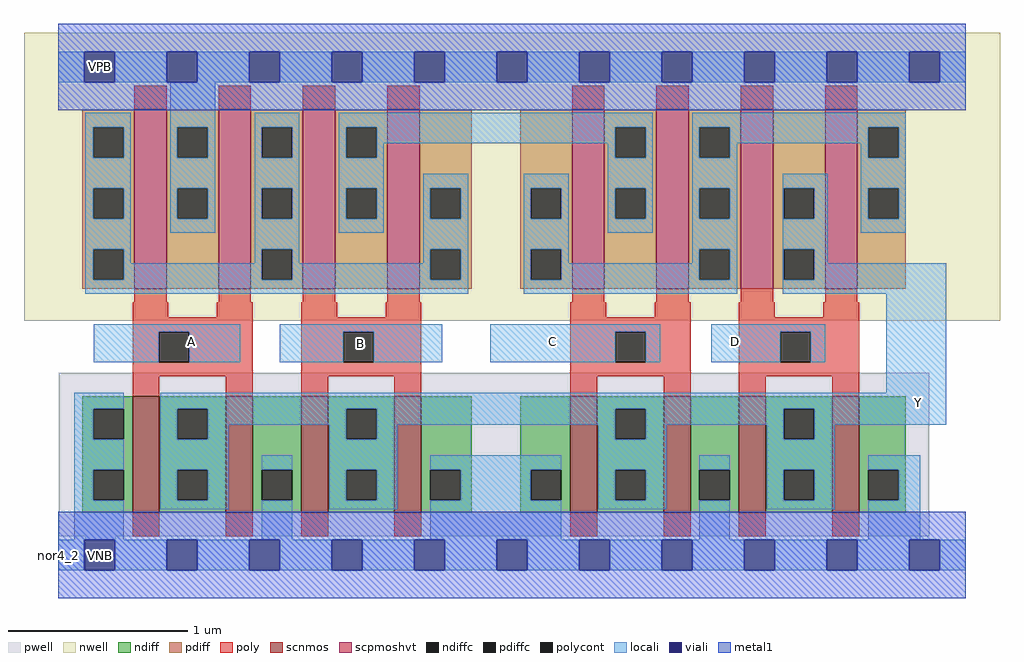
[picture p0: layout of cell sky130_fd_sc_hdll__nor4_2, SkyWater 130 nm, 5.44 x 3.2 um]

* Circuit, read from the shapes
.subckt sky130_fd_sc_hdll__nor4_2 A B C D VGND VNB VPB VPWR Y
XM1 Y A VGND VNB sky130_fd_pr__nfet_01v8 w=0.65 l=0.15 m=2
XM2 Y B VGND VNB sky130_fd_pr__nfet_01v8 w=0.65 l=0.15 m=2
XM3 Y C VGND VNB sky130_fd_pr__nfet_01v8 w=0.65 l=0.15 m=2
XM4 Y D VGND VNB sky130_fd_pr__nfet_01v8 w=0.65 l=0.15 m=2
XM5 VPWR A n1 VPB sky130_fd_pr__pfet_01v8_hvt w=1 l=0.18 m=2
XM6 n2 B n1 VPB sky130_fd_pr__pfet_01v8_hvt w=1 l=0.18 m=2
XM7 n2 C n3 VPB sky130_fd_pr__pfet_01v8_hvt w=1 l=0.18 m=2
XM8 Y D n3 VPB sky130_fd_pr__pfet_01v8_hvt w=1 l=0.18 m=2
.ends

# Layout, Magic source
magic
tech sky130A
magscale 1 2
<< nwell >>
rect -38 261 1050 582
<< pwell >>
rect 1 21 971 203
rect 30 -17 64 21
<< scnmos >>
rect 83 47 113 177
rect 187 47 217 177
rect 271 47 301 177
rect 375 47 405 177
rect 571 47 601 177
rect 675 47 705 177
rect 759 47 789 177
rect 863 47 893 177
<< scpmoshvt >>
rect 85 297 121 497
rect 179 297 215 497
rect 273 297 309 497
rect 367 297 403 497
rect 573 297 609 497
rect 667 297 703 497
rect 761 297 797 497
rect 855 297 891 497
<< ndiff >>
rect 27 163 83 177
rect 27 129 39 163
rect 73 129 83 163
rect 27 95 83 129
rect 27 61 39 95
rect 73 61 83 95
rect 27 47 83 61
rect 113 163 187 177
rect 113 129 133 163
rect 167 129 187 163
rect 113 95 187 129
rect 113 61 133 95
rect 167 61 187 95
rect 113 47 187 61
rect 217 95 271 177
rect 217 61 227 95
rect 261 61 271 95
rect 217 47 271 61
rect 301 163 375 177
rect 301 129 321 163
rect 355 129 375 163
rect 301 95 375 129
rect 301 61 321 95
rect 355 61 375 95
rect 301 47 375 61
rect 405 95 461 177
rect 405 61 415 95
rect 449 61 461 95
rect 405 47 461 61
rect 515 95 571 177
rect 515 61 527 95
rect 561 61 571 95
rect 515 47 571 61
rect 601 163 675 177
rect 601 129 621 163
rect 655 129 675 163
rect 601 95 675 129
rect 601 61 621 95
rect 655 61 675 95
rect 601 47 675 61
rect 705 95 759 177
rect 705 61 715 95
rect 749 61 759 95
rect 705 47 759 61
rect 789 163 863 177
rect 789 129 809 163
rect 843 129 863 163
rect 789 95 863 129
rect 789 61 809 95
rect 843 61 863 95
rect 789 47 863 61
rect 893 95 945 177
rect 893 61 903 95
rect 937 61 945 95
rect 893 47 945 61
<< pdiff >>
rect 27 477 85 497
rect 27 443 39 477
rect 73 443 85 477
rect 27 409 85 443
rect 27 375 39 409
rect 73 375 85 409
rect 27 341 85 375
rect 27 307 39 341
rect 73 307 85 341
rect 27 297 85 307
rect 121 477 179 497
rect 121 443 133 477
rect 167 443 179 477
rect 121 409 179 443
rect 121 375 133 409
rect 167 375 179 409
rect 121 297 179 375
rect 215 477 273 497
rect 215 443 227 477
rect 261 443 273 477
rect 215 409 273 443
rect 215 375 227 409
rect 261 375 273 409
rect 215 341 273 375
rect 215 307 227 341
rect 261 307 273 341
rect 215 297 273 307
rect 309 477 367 497
rect 309 443 321 477
rect 355 443 367 477
rect 309 409 367 443
rect 309 375 321 409
rect 355 375 367 409
rect 309 297 367 375
rect 403 409 461 497
rect 403 375 415 409
rect 449 375 461 409
rect 403 341 461 375
rect 403 307 415 341
rect 449 307 461 341
rect 403 297 461 307
rect 515 409 573 497
rect 515 375 527 409
rect 561 375 573 409
rect 515 341 573 375
rect 515 307 527 341
rect 561 307 573 341
rect 515 297 573 307
rect 609 477 667 497
rect 609 443 621 477
rect 655 443 667 477
rect 609 409 667 443
rect 609 375 621 409
rect 655 375 667 409
rect 609 297 667 375
rect 703 477 761 497
rect 703 443 715 477
rect 749 443 761 477
rect 703 409 761 443
rect 703 375 715 409
rect 749 375 761 409
rect 703 341 761 375
rect 703 307 715 341
rect 749 307 761 341
rect 703 297 761 307
rect 797 409 855 497
rect 797 375 809 409
rect 843 375 855 409
rect 797 341 855 375
rect 797 307 809 341
rect 843 307 855 341
rect 797 297 855 307
rect 891 477 945 497
rect 891 443 903 477
rect 937 443 945 477
rect 891 409 945 443
rect 891 375 903 409
rect 937 375 945 409
rect 891 297 945 375
<< ndiffc >>
rect 39 129 73 163
rect 39 61 73 95
rect 133 129 167 163
rect 133 61 167 95
rect 227 61 261 95
rect 321 129 355 163
rect 321 61 355 95
rect 415 61 449 95
rect 527 61 561 95
rect 621 129 655 163
rect 621 61 655 95
rect 715 61 749 95
rect 809 129 843 163
rect 809 61 843 95
rect 903 61 937 95
<< pdiffc >>
rect 39 443 73 477
rect 39 375 73 409
rect 39 307 73 341
rect 133 443 167 477
rect 133 375 167 409
rect 227 443 261 477
rect 227 375 261 409
rect 227 307 261 341
rect 321 443 355 477
rect 321 375 355 409
rect 415 375 449 409
rect 415 307 449 341
rect 527 375 561 409
rect 527 307 561 341
rect 621 443 655 477
rect 621 375 655 409
rect 715 443 749 477
rect 715 375 749 409
rect 715 307 749 341
rect 809 375 843 409
rect 809 307 843 341
rect 903 443 937 477
rect 903 375 937 409
<< poly >>
rect 85 497 121 523
rect 179 497 215 523
rect 273 497 309 523
rect 367 497 403 523
rect 573 497 609 523
rect 667 497 703 523
rect 761 497 797 523
rect 855 497 891 523
rect 85 282 121 297
rect 179 282 215 297
rect 273 282 309 297
rect 367 282 403 297
rect 573 282 609 297
rect 667 282 703 297
rect 761 282 797 297
rect 855 282 891 297
rect 83 265 123 282
rect 177 265 217 282
rect 83 249 217 265
rect 83 215 112 249
rect 146 215 217 249
rect 83 199 217 215
rect 83 177 113 199
rect 187 177 217 199
rect 271 265 311 282
rect 365 265 405 282
rect 271 249 405 265
rect 271 215 318 249
rect 352 215 405 249
rect 271 199 405 215
rect 271 177 301 199
rect 375 177 405 199
rect 571 265 611 282
rect 665 265 705 282
rect 571 249 705 265
rect 571 215 621 249
rect 655 215 705 249
rect 571 199 705 215
rect 571 177 601 199
rect 675 177 705 199
rect 759 265 799 282
rect 853 265 893 282
rect 759 249 893 265
rect 759 215 805 249
rect 839 215 893 249
rect 759 199 893 215
rect 759 177 789 199
rect 863 177 893 199
rect 83 21 113 47
rect 187 21 217 47
rect 271 21 301 47
rect 375 21 405 47
rect 571 21 601 47
rect 675 21 705 47
rect 759 21 789 47
rect 863 21 893 47
<< polycont >>
rect 112 215 146 249
rect 318 215 352 249
rect 621 215 655 249
rect 805 215 839 249
<< locali >>
rect 0 527 29 561
rect 63 527 121 561
rect 155 527 213 561
rect 247 527 305 561
rect 339 527 397 561
rect 431 527 489 561
rect 523 527 581 561
rect 615 527 673 561
rect 707 527 765 561
rect 799 527 857 561
rect 891 527 949 561
rect 983 527 1012 561
rect 30 477 81 493
rect 30 443 39 477
rect 73 443 81 477
rect 30 409 81 443
rect 30 375 39 409
rect 73 375 81 409
rect 30 341 81 375
rect 125 477 175 527
rect 125 443 133 477
rect 167 443 175 477
rect 125 409 175 443
rect 125 375 133 409
rect 167 375 175 409
rect 125 359 175 375
rect 219 477 269 493
rect 219 443 227 477
rect 261 443 269 477
rect 219 409 269 443
rect 219 375 227 409
rect 261 375 269 409
rect 30 307 39 341
rect 73 325 81 341
rect 219 341 269 375
rect 313 477 663 493
rect 313 443 321 477
rect 355 459 621 477
rect 355 443 363 459
rect 313 409 363 443
rect 613 443 621 459
rect 655 443 663 477
rect 313 375 321 409
rect 355 375 363 409
rect 313 359 363 375
rect 407 409 457 425
rect 407 375 415 409
rect 449 375 457 409
rect 219 325 227 341
rect 73 307 227 325
rect 261 325 269 341
rect 407 341 457 375
rect 407 325 415 341
rect 261 307 415 325
rect 449 307 457 341
rect 30 291 457 307
rect 519 409 569 425
rect 519 375 527 409
rect 561 375 569 409
rect 519 341 569 375
rect 613 409 663 443
rect 613 375 621 409
rect 655 375 663 409
rect 613 359 663 375
rect 707 477 945 493
rect 707 443 715 477
rect 749 459 903 477
rect 749 443 757 459
rect 707 409 757 443
rect 895 443 903 459
rect 937 443 945 477
rect 707 375 715 409
rect 749 375 757 409
rect 519 307 527 341
rect 561 325 569 341
rect 707 341 757 375
rect 707 325 715 341
rect 561 307 715 325
rect 749 307 757 341
rect 519 291 757 307
rect 808 409 858 425
rect 808 375 809 409
rect 843 375 858 409
rect 808 341 858 375
rect 895 409 945 443
rect 895 375 903 409
rect 937 375 945 409
rect 895 359 945 375
rect 808 307 809 341
rect 843 325 858 341
rect 843 307 990 325
rect 808 291 990 307
rect 40 249 203 257
rect 40 215 112 249
rect 146 215 203 249
rect 247 249 428 257
rect 247 215 318 249
rect 352 215 428 249
rect 482 249 671 257
rect 482 215 621 249
rect 655 215 671 249
rect 728 249 855 257
rect 728 215 805 249
rect 839 215 855 249
rect 923 181 990 291
rect 18 163 73 181
rect 18 129 39 163
rect 18 95 73 129
rect 18 61 39 95
rect 18 17 73 61
rect 114 163 990 181
rect 114 129 133 163
rect 167 145 321 163
rect 167 129 190 145
rect 114 95 190 129
rect 302 129 321 145
rect 355 145 621 163
rect 355 129 378 145
rect 114 61 133 95
rect 167 61 190 95
rect 114 51 190 61
rect 227 95 261 111
rect 227 17 261 61
rect 302 95 378 129
rect 602 129 621 145
rect 655 145 809 163
rect 655 129 678 145
rect 302 61 321 95
rect 355 61 378 95
rect 302 51 378 61
rect 415 95 561 111
rect 449 61 527 95
rect 415 17 561 61
rect 602 95 678 129
rect 790 129 809 145
rect 843 145 990 163
rect 843 129 866 145
rect 602 61 621 95
rect 655 61 678 95
rect 602 51 678 61
rect 715 95 749 111
rect 715 17 749 61
rect 790 95 866 129
rect 790 61 809 95
rect 843 61 866 95
rect 790 51 866 61
rect 903 95 961 111
rect 937 61 961 95
rect 903 17 961 61
rect 0 -17 29 17
rect 63 -17 121 17
rect 155 -17 213 17
rect 247 -17 305 17
rect 339 -17 397 17
rect 431 -17 489 17
rect 523 -17 581 17
rect 615 -17 673 17
rect 707 -17 765 17
rect 799 -17 857 17
rect 891 -17 949 17
rect 983 -17 1012 17
<< viali >>
rect 29 527 63 561
rect 121 527 155 561
rect 213 527 247 561
rect 305 527 339 561
rect 397 527 431 561
rect 489 527 523 561
rect 581 527 615 561
rect 673 527 707 561
rect 765 527 799 561
rect 857 527 891 561
rect 949 527 983 561
rect 29 -17 63 17
rect 121 -17 155 17
rect 213 -17 247 17
rect 305 -17 339 17
rect 397 -17 431 17
rect 489 -17 523 17
rect 581 -17 615 17
rect 673 -17 707 17
rect 765 -17 799 17
rect 857 -17 891 17
rect 949 -17 983 17
<< metal1 >>
rect 0 561 1012 592
rect 0 527 29 561
rect 63 527 121 561
rect 155 527 213 561
rect 247 527 305 561
rect 339 527 397 561
rect 431 527 489 561
rect 523 527 581 561
rect 615 527 673 561
rect 707 527 765 561
rect 799 527 857 561
rect 891 527 949 561
rect 983 527 1012 561
rect 0 496 1012 527
rect 0 17 1012 48
rect 0 -17 29 17
rect 63 -17 121 17
rect 155 -17 213 17
rect 247 -17 305 17
rect 339 -17 397 17
rect 431 -17 489 17
rect 523 -17 581 17
rect 615 -17 673 17
rect 707 -17 765 17
rect 799 -17 857 17
rect 891 -17 949 17
rect 983 -17 1012 17
rect 0 -48 1012 -17
<< labels >>
flabel locali s 534 221 568 255 0 FreeSans 400 0 0 0 C
port 3 nsew signal input
flabel locali s 738 221 772 255 0 FreeSans 400 0 0 0 D
port 4 nsew signal input
flabel locali s 942 153 976 187 0 FreeSans 400 0 0 0 Y
port 9 nsew signal output
flabel locali s 132 221 166 255 0 FreeSans 400 0 0 0 A
port 1 nsew signal input
flabel locali s 247 215 428 257 0 FreeSans 400 0 0 0 B
port 2 nsew signal input
flabel pwell s 30 -17 64 17 0 FreeSans 200 0 0 0 VNB
port 6 nsew ground bidirectional
flabel nwell s 30 527 64 561 0 FreeSans 200 0 0 0 VPB
port 7 nsew power bidirectional
flabel metal1 s 30 -17 64 17 0 FreeSans 200 0 0 0 VGND
port 5 nsew ground bidirectional
flabel metal1 s 30 527 64 561 0 FreeSans 200 0 0 0 VPWR
port 8 nsew power bidirectional
rlabel comment s 0 0 0 0 4 nor4_2
<< properties >>
string LEFsite unithd
string LEFclass CORE
string FIXED_BBOX 0 0 1012 544
string GDS_FILE $PDKPATH/libs.ref/sky130_fd_sc_hdll/gds/sky130_fd_sc_hdll.gds
string LEFsymmetry X Y R90
string GDS_END 2372360
string GDS_START 2364294
string LEFproperties maskLayoutSubType "abstract" prCellType "standard" originalViewName "layout"
<< end >>
